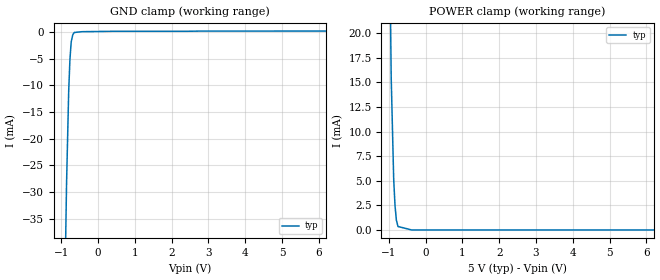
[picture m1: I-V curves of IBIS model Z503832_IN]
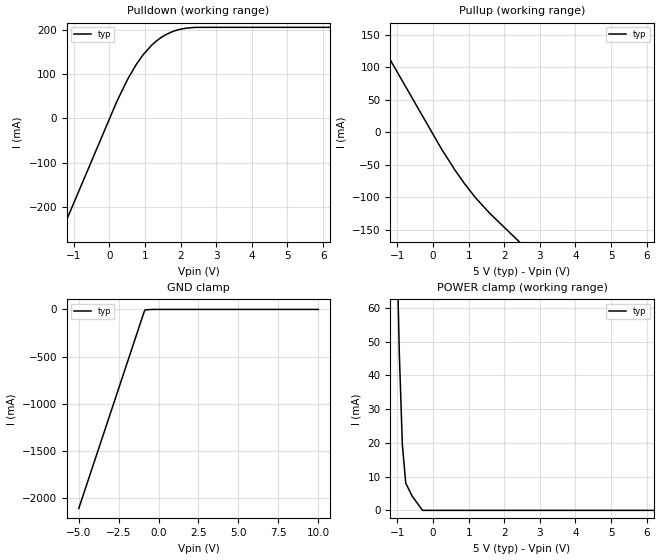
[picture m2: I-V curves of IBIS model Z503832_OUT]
| YOU ARE ONLY AUTHORIZED TO USE THIS SOFTWARE
| ACCORDING TO LICENSOR'S LICENSE RESTRICTIONS.
[IBIS Ver] 3.1
[File Name] mc74act151n.ibs
[File Rev] 2.0
[Source] Measured and created by ICX Technology
[Date] Friday 7/14/00 9:08:01 AM
[Copyright]
| (C) COPYRIGHT 1993-2000
| MENTOR GRAPHICS CORPORATION
| ICX STANDARD LIBRARY, ICX PROJECT MODELING,
| ICX CUSTOM MODELING, ICX VENDOR MODEL
| ALL RIGHTS RESERVED.
| THE FOLLOWING ARE TRADEMARKS OR SERVICE MARKS OF
| MENTOR GRAPHICS CORPORATION:ICX (R), ICX STANDARD
| LIBRARY(R), ICX PROJECT MODELING(R), ICX CUSTOM
| MODELING(R), qualityIBIS(TM), MODELVIEWER(TM),
| AND MODELEDITOR(TM)
| ALL COPIES OF SOFTWARE, INCLUDING BUT NOT LIMITED TO
| ANY MODIFICATIONS, ENHANCEMENTS OR DERIVATIVE WORKS,
| MUST CONTAIN ALL MENTOR GRAPHICS CORPORATION'S
| NOTICES AND LEGENDS, INCLUDING THOSE EMBEDDED IN
| SOFTWARE AND THOSE AFFIXED TO SOFTWARE MEDIUM
| AND CONTAINER, AS RECEIVED FROM MENTOR GRAPHICS
| CORPORATION.
|  ZAP Model Builder 2.7
[Component] MC74ACT151N
[Manufacturer] OnSemiconductor
[Package]
| variable   typ   min   max
R_pkg  .212ohms NA NA
L_pkg  4.758nH NA NA
C_pkg  1.143pF NA NA
[Pin] signal_name  model_name  R_pin  L_pin C_pin
1 D3 Z503832_IN .224 7.258n 1.578p
2 D2 Z503832_IN .216 5.258n 1.288p
3 D1 Z503832_IN .208 3.758n .998p
4 D0 Z503832_IN .2 2.758n .708p
5 Y Z503832_OUT .2 2.758n .708p
6 _Y Z503832_OUT .208 3.758n .998p
7 _G Z503832_IN .216 5.258n 1.288p
8 GND GND .224 7.258n 1.578p
9 C Z503832_IN .224 7.258n 1.578p
10 B Z503832_IN .216 5.258n 1.288p
11 A Z503832_IN .208 3.758n .998p
12 D7 Z503832_IN .2 2.758n .708p
13 D6 Z503832_IN .2 2.758n .708p
14 D5 Z503832_IN .208 3.758n .998p
15 D4 Z503832_IN .216 5.258n 1.288p
16 VCC POWER .224 7.258n 1.578p
| Models and submodels in the file (2): Z503832_IN (Input), Z503832_OUT (Output)
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| (C) COPYRIGHT 1993-2000
| MENTOR GRAPHICS CORPORATION
| ICX STANDARD LIBRARY, ICX PROJECT MODELING,
| ICX CUSTOM MODELING, ICX VENDOR MODEL
| ALL RIGHTS RESERVED.
| THE FOLLOWING ARE TRADEMARKS OR SERVICE MARKS OF
| MENTOR GRAPHICS CORPORATION:ICX (R), ICX STANDARD
| LIBRARY(R), ICX PROJECT MODELING(R), ICX CUSTOM
| MODELING(R), qualityIBIS(TM), MODELVIEWER(TM),
| AND MODELEDITOR(TM)
| ALL COPIES OF SOFTWARE, INCLUDING BUT NOT LIMITED TO
| ANY MODIFICATIONS, ENHANCEMENTS OR DERIVATIVE WORKS,
| MUST CONTAIN ALL MENTOR GRAPHICS CORPORATION'S
| NOTICES AND LEGENDS, INCLUDING THOSE EMBEDDED IN
| SOFTWARE AND THOSE AFFIXED TO SOFTWARE MEDIUM
| AND CONTAINER, AS RECEIVED FROM MENTOR GRAPHICS
| CORPORATION.
| Model Application Version 1.89 2/18/99.
[Model] Z503832_IN
Model_type Input
Vinl = 800.0mV
Vinh = 2.000V
C_comp 4.000pF NA NA
| variable typ   min   max
[Voltage Range] 5.000V NA NA
[GND Clamp Reference] 0.000V NA NA
[POWER Clamp Reference] 5.000V NA NA
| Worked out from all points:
|   GND clamp passes 1 mA (typ) near -0.70 V on its own axis
|   POWER clamp passes 1 mA (typ) near -0.79 V on its own axis
[GND Clamp]
-5V       -3.363A    NA         NA
-1.005V   -93.69mA   NA         NA
-854.6mV  -28.53mA   NA         NA
-795.9mV  -11.03mA   NA         NA
-762.6mV  -5.163mA   NA         NA
-727.7mV  -1.839mA   NA         NA
-684.2mV  -514.5uA   NA         NA
-645mV    -95.55uA   NA         NA
468.7mV   132.8uA    NA         NA
10V       174.5uA    NA         NA
[POWER Clamp]
-5V       2.627A     NA         NA
-1.113V   91.37mA    NA         NA
-1.021V   45.72mA    NA         NA
-932mV    15.56mA    NA         NA
-864mV    5.146mA    NA         NA
-828mV    2.476mA    NA         NA
-791mV    997.5uA    NA         NA
-747mV    350.7uA    NA         NA
-373.5mV  0A         NA         NA
10V       0A         NA         NA
| (C) COPYRIGHT 1993-2000
| MENTOR GRAPHICS CORPORATION
| ICX STANDARD LIBRARY, ICX PROJECT MODELING,
| ICX CUSTOM MODELING, ICX VENDOR MODEL
| ALL RIGHTS RESERVED.
| THE FOLLOWING ARE TRADEMARKS OR SERVICE MARKS OF
| MENTOR GRAPHICS CORPORATION:ICX (R), ICX STANDARD
| LIBRARY(R), ICX PROJECT MODELING(R), ICX CUSTOM
| MODELING(R), qualityIBIS(TM), MODELVIEWER(TM),
| AND MODELEDITOR(TM)
| ALL COPIES OF SOFTWARE, INCLUDING BUT NOT LIMITED TO
| ANY MODIFICATIONS, ENHANCEMENTS OR DERIVATIVE WORKS,
| MUST CONTAIN ALL MENTOR GRAPHICS CORPORATION'S
| NOTICES AND LEGENDS, INCLUDING THOSE EMBEDDED IN
| SOFTWARE AND THOSE AFFIXED TO SOFTWARE MEDIUM
| AND CONTAINER, AS RECEIVED FROM MENTOR GRAPHICS
| CORPORATION.
| Model Application Version 1.89 2/18/99.
[Model] Z503832_OUT
Model_type Output
Vref=0.000V
Rref=500.0ohms
Cref=50.00pF
Vmeas=1.500V
C_comp 8.000pF NA NA
| variable typ   min   max
[Voltage Range] 5.000V NA NA
[POWER Clamp Reference] 5.000V NA NA
[Pullup Reference] 5.000V NA NA
[Pulldown Reference] 0.000V NA NA
[GND Clamp Reference] 0.000V NA NA
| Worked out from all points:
|   slope of the pulldown table from 0 to 0.75 V, typ, clamps not added: 6.13 ohm
|   slope of the pullup table from 0 to 0.75 V, typ, clamps not added: 11.4 ohm
[GND Clamp]
-5V       -2.112A    NA         NA
-897.6mV  -22.48mA   NA         NA
-847.2mV  -5.845mA   NA         NA
-423.6mV  0A         NA         NA
10V       0A         NA         NA
[Pulldown]
-5V       -949.6mA   NA         NA
206.3mV   38.37mA    NA         NA
512.7mV   88.97mA    NA         NA
753.4mV   122.1mA    NA         NA
949.1mV   144.3mA    NA         NA
1.185V    165.6mA    NA         NA
1.333V    176mA      NA         NA
1.578V    189.1mA    NA         NA
1.733V    195mA      NA         NA
1.982V    201.5mA    NA         NA
2.397V    205.7mA    NA         NA
10V       205.9mA    NA         NA
[Pullup]
-5V       472.8mA    NA         NA
235mV     -25.76mA   NA         NA
620mV     -58.85mA   NA         NA
879mV     -79.01mA   NA         NA
1.192V    -101mA     NA         NA
1.587V    -124.7mA   NA         NA
10V       -570.5mA   NA         NA
[POWER Clamp]
-5V       2.418A     NA         NA
-1.035V   87.52mA    NA         NA
-947mV    46.2mA     NA         NA
-862mV    19.39mA    NA         NA
-767mV    8.079mA    NA         NA
-591mV    4.279mA    NA         NA
-295.5mV  0A         NA         NA
10V       0A         NA         NA
[Ramp]
| variable typ min max
dV/dt_r 2.957/431.0p NA NA
dV/dt_f 2.957/631.9p NA NA
R_load = 500.0Ohms
